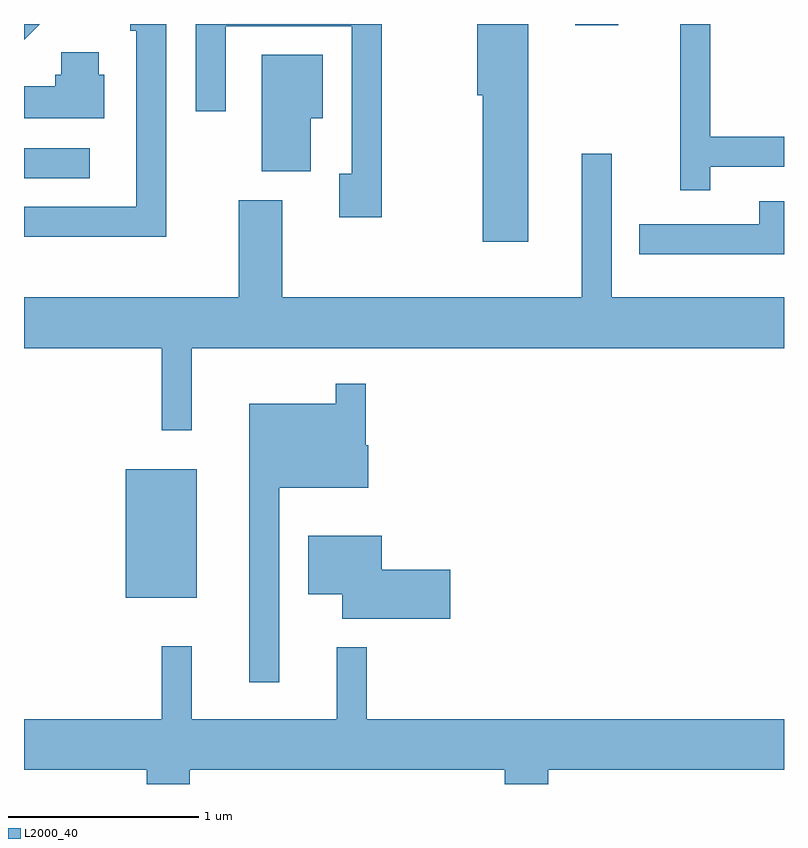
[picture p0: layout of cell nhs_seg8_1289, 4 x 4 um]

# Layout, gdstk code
import gdstk
lib = gdstk.Library(unit=1e-6, precision=1e-09)
def R(c, l, rs):  # rectangles x0, y0, x1, y1
    for r in rs: c.add(gdstk.rectangle(r[:2], r[2:], *l))
def P(c, l, *ps):  # polygons
    for p in ps: c.add(gdstk.Polygon(p, *l))
L2000_40 = (2000, 40)

nhs_seg8_1289 = lib.new_cell('nhs_seg8_1289')
R(nhs_seg8_1289, L2000_40, [(224.146,1837.321,224.519,1837.999), (223.611,1839.531,223.958,1839.689), (226.511,1840.336,226.739,1840.342)])
P(nhs_seg8_1289, L2000_40, [(226.264,1840.342),(225.996,1840.342),(225.996,1839.966),(226.026,1839.966),(226.026,1839.196),(226.264,1839.196)],
  [(224.359,1840.342),(224.171,1840.342),(224.171,1840.306),(224.201,1840.306),(224.201,1839.379),(223.611,1839.379),(223.611,1839.221),(224.359,1839.221)],
  [(227.224,1839.591),(227.611,1839.591),(227.611,1839.749),(227.224,1839.749),(227.224,1840.342),(227.066,1840.342),(227.066,1839.468),(227.224,1839.468)],
  [(225.494,1840.342),(224.516,1840.342),(224.516,1839.883),(224.674,1839.883),(224.674,1840.331),(225.336,1840.331),(225.336,1839.554),(225.271,1839.554),(225.271,1839.326),(225.494,1839.326)],
  [(223.693,1840.342),(223.611,1840.342),(223.611,1840.26)],
  [(224.034,1840.074),(224.004,1840.074),(224.004,1840.194),(223.806,1840.194),(223.806,1840.074),(223.776,1840.074),(223.776,1840.014),(223.611,1840.014),(223.611,1839.846),(224.034,1839.846)],
  [(225.119,1839.846),(225.184,1839.846),(225.184,1840.179),(224.861,1840.179),(224.861,1839.566),(225.119,1839.566)],
  [(224.494,1838.636),(227.611,1838.636),(227.611,1838.904),(226.704,1838.904),(226.704,1839.658),(226.546,1839.658),(226.546,1838.904),(224.969,1838.904),(224.969,1839.414),(224.741,1839.414),(224.741,1838.904),(223.611,1838.904),(223.611,1838.636),(224.336,1838.636),(224.336,1838.203),(224.494,1838.203)],
  [(227.611,1839.409),(227.481,1839.409),(227.481,1839.289),(226.848,1839.289),(226.848,1839.131),(227.611,1839.131)],
  [(224.954,1837.901),(225.424,1837.901),(225.424,1838.125),(225.409,1838.125),(225.409,1838.448),(225.251,1838.448),(225.251,1838.344),(224.796,1838.344),(224.796,1836.878),(224.954,1836.878)],
  [(225.854,1837.469),(225.494,1837.469),(225.494,1837.649),(225.106,1837.649),(225.106,1837.341),(225.286,1837.341),(225.286,1837.211),(225.854,1837.211)],
  [(224.484,1836.416),(226.141,1836.416),(226.141,1836.342),(226.369,1836.342),(226.369,1836.416),(227.611,1836.416),(227.611,1836.684),(225.414,1836.684),(225.414,1837.063),(225.256,1837.063),(225.256,1836.684),(224.494,1836.684),(224.494,1837.068),(224.336,1837.068),(224.336,1836.684),(223.611,1836.684),(223.611,1836.416),(224.256,1836.416),(224.256,1836.342),(224.484,1836.342)])

lib.write_gds('nhs_seg8_1289.gds')
